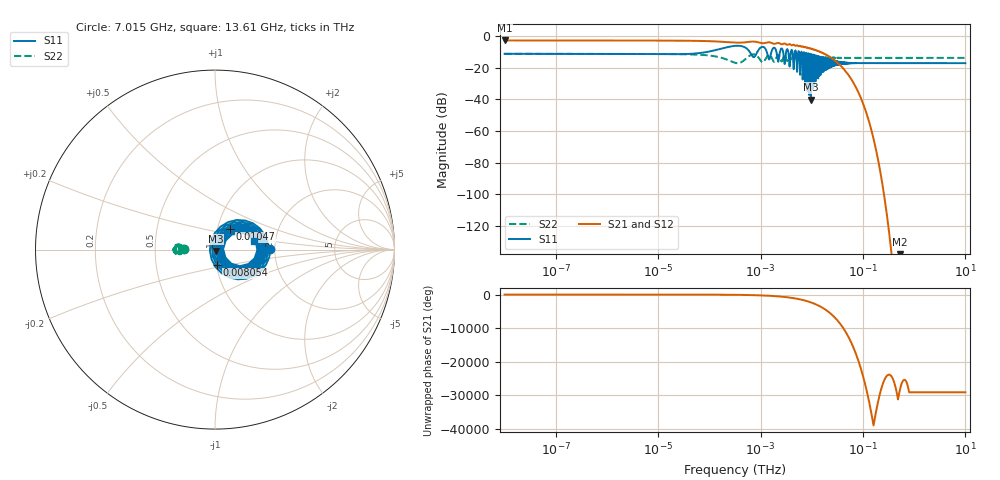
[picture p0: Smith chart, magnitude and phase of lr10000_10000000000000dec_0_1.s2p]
! NPort=2 DATA=4501 NOISE=0 GROUPDELAY=0 COMPLEX_DATAFORMAT=RI
! NumOfBlock=1 NumOfParam=0
! .MODEL Smodel S TSTONEFILE=./link_rx/link_rx_l1/lr10000_10000000000000dec_0_1.s2p TYPE=S
!  -- The above .MODEL line can be used for the S element in the netlist.
# Hz S RI R  50
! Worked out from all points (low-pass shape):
!   4501 points, 10 kHz to 10 THz, reference 50 ohm
!   highest |S21| = -2.79 dB at 10.05 kHz (marker M1); lowest = -198.4 dB at 529.7 GHz (marker M2)
!   |S21| within 3 dB of the highest: start of sweep to 3.989 GHz; 4.173 GHz to 4.596 GHz (422.9 MHz wide, 9.64 % of centre)
!   lowest |S11| = -40.1 dB at 9.594 GHz (marker M3), VSWR 1.02, Z = 50.5 - j0.84 ohm
!   |S11| at or under -10 dB: 4.902 GHz to 5.443 GHz (541.2 MHz wide, 10.5 % of centre); 5.613 GHz to 6.223 GHz (610 MHz wide, 10.3 % of centre); 6.312 GHz to end of sweep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
!   |S22| runs from -17.2 to -11.2 dB; largest |S21 - S12| = 0
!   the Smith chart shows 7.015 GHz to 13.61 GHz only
!   S11 on the Smith chart (normalised r, x): 7.015 GHz: 1.89, +0.00; 8.054 GHz: 1.01, -0.18; 10.47 GHz: 1.15, +0.27; 13.61 GHz: 1.55, +0.15
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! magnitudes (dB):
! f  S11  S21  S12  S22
! 10 kHz  -11.2  -2.8  -2.8  -11.2
! 10.05 kHz  -11.2  -2.8  -2.8  -11.2
! 316.2 kHz  -11.3  -2.8  -2.8  -11.2
! 10 MHz  -11.5  -2.9  -2.9  -11.3
! 316.2 MHz  -6.2  -4.1  -4.1  -16.9
! 714.5 MHz  -13.2  -3.5  -3.5  -11.6
! 1.096 GHz  -6.8  -4.5  -4.5  -16.6
! 1.452 GHz  -14.6  -3.9  -3.9  -11.8
! 1.828 GHz  -7.4  -4.9  -4.9  -16.3
! 2.178 GHz  -15.7  -4.3  -4.3  -12.0
! 7.015 GHz  -10.2  -7.1  -7.1  -15.2
! 8.054 GHz  -21.1  -7.2  -7.2  -12.9
! 9.594 GHz  -40.1  -7.8  -7.8  -12.9
! 10 GHz  -11.5  -8.3  -8.3  -14.8
! 10.47 GHz  -17.0  -8.3  -8.3  -13.4
! 13.61 GHz  -13.0  -9.7  -9.7  -14.4
! 59.16 GHz  -17.2  -27.3  -27.3  -13.8
! 111.7 GHz  -17.1  -46.9  -46.9  -13.8
! 204.2 GHz  -17.1  -80.8  -80.8  -13.8
! 316.2 GHz  -17.1  -121.5  -121.5  -13.8
! 529.7 GHz  -17.1  -198.4  -198.4  -13.8
! 10 THz  -17.1  -  -  -13.8
